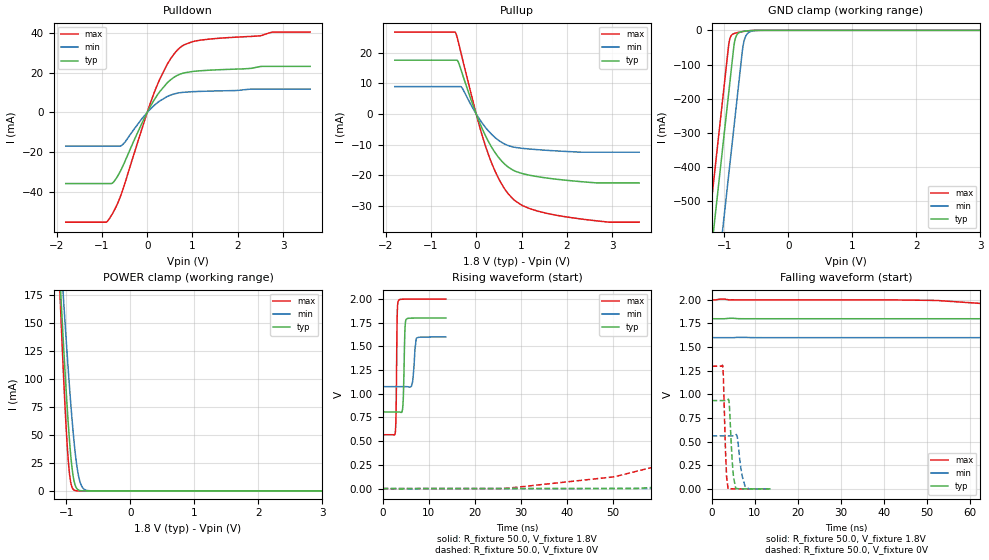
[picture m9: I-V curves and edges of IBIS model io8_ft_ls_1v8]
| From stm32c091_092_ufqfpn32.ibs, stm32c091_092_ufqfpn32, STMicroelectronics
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[Model]   io8_ft_ls_1v8
Model_type I/O
Polarity   Non-Inverting
Enable   Active-Low
| CAP_THRESHOLD on pad IOFT is "UDTCAPC" :
| Rising=30.0% of vddiom   Falling=70.0% of vddiom
| C_comp min and max val. don't necessarily correlate with the min and max pvt
| but are the smallest and greatest pad capacitance found.
| var   typ   min   max
C_comp   1.89337pF  1.85846pF  1.94151pF
|C_comp_pullup   1.00547pF  1.08100pF  1.05730pF
|C_comp_pulldown   887.90076fF  777.46347fF  884.20544fF
Vinl = 800.0mV
Vinh = 1.0V
Vmeas = 900.0mV   | Reference voltage for timing measurements
Cref  = 50.0pF   | Timing specification test load capacitance value
Rref  = 1.0MOhm   | Timing specification test load resistance value
Vref  = 990.0mV   | Timing specification test load voltage
[Model Spec]
| TIME_THRESHOLD on pin ZIV12 is "CMOS" :
| Rising=50.0% of vdd   Falling=50.0% of vdd
Vinl 728.70000mV 652.70000mV 817.70000mV
Vinh 1.06430V 953.30000mV 1.16330V
| variable   typ   min   max
[Temperature Range] 25.0 125.0 -40.0
| variable   typ   min   max
[Voltage Range] 1.8V 1.6V 2.0V
| variable   typ   min   max
[POWER Clamp Reference] 1.8V 1.6V 2.0V
| variable   typ   min   max
[GND Clamp Reference] 0V 0V 0V
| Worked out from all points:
|   slope of the pulldown table from 0 to 0.27 V, typ, clamps not added: 26.3 ohm
|   slope of the pullup table from 0 to 0.27 V, typ, clamps not added: 30 ohm
|   GND clamp passes 1 mA (typ) near -0.61 V on its own axis
|   POWER clamp passes 1 mA (typ) near -0.81 V on its own axis
|   rising waveform, R_fixture 50.0, V_fixture 1.8V: 20-80 % time 277ps typ, 470ps min, 188ps max; typ from 0.809 V to 1.8 V
|   falling waveform, R_fixture 50.0, V_fixture 1.8V: 20-80 % time 124ns typ, 225ns min, 65.3ns max; typ from 1.8 V to 0.808 V
|   rising waveform, R_fixture 50.0, V_fixture 0V: 20-80 % time 130ns typ, 242ns min, 71.3ns max; typ from 0 V to 0.935 V
|   falling waveform, R_fixture 50.0, V_fixture 0V: 20-80 % time 694ps typ, 1.01ns min, 532ps max; typ from 0.935 V to 0 V
[POWER Clamp]
-1.8V     1.053A     933.5mA    1.262A
-1.1V     191.1mA    222.7mA    177.1mA
-1.08V    169mA      204.2mA    149.9mA
-1.05V    136.9mA    176.9mA    110.9mA
-1.01V    96.55mA    141.6mA    64.02mA
-980mV    68.91mA    116.4mA    35.23mA
-940mV    37.57mA    84.83mA    10.65mA
-880mV    8.969mA    44.34mA    807.4uA
-830mV    1.697mA    20.19mA    75.79uA
-790mV    394.2uA    8.787mA    11.25uA
-670mV    4.467uA    374.2uA    36.56nA
3.6V      0A         0A         0A
[GND Clamp]
-1.8V     -1.658A    -1.897A    -1.517A
-1.24V    -706mA     -945.3mA   -564.6mA
-1.05V    -383mA     -622.3mA   -241.6mA
-930mV    -179mA     -418.3mA   -38.91mA
-910mV    -145mA     -384.3mA   -22.02mA
-870mV    -77.01mA   -316.3mA   -11.35mA
-850mV    -44.09mA   -282.3mA   -9.519mA
-820mV    -19mA      -231.3mA   -7.801mA
-710mV    -3.257mA   -47.82mA   -3.606mA
-660mV    -1.938mA   -14.77mA   -2.175mA
-590mV    -790.4uA   -3.415mA   -786.7uA
3.6V      506.8pA    48.18nA    364.4pA
| variable   typ   min   max
[Pullup Reference] 1.8V 1.6V 2.0V
| variable   typ   min   max
[Pulldown Reference] 0V 0V 0V
[Pullup]
-1.8V     17.6mA     8.988mA    26.78mA
-460mV    17.6mA     8.988mA    26.69mA
-410mV    17.37mA    8.988mA    24.39mA
-320mV    13.71mA    8.672mA    18.93mA
50mV      -1.901mA   -1.175mA   -2.8mA
270mV     -8.99mA    -5.518mA   -13.26mA
540mV     -15mA      -9.056mA   -22.31mA
870mV     -18.72mA   -10.91mA   -28.48mA
1.18V     -19.99mA   -11.43mA   -30.89mA
1.8V      -21.34mA   -12.07mA   -33.14mA
2.94V     -22.49mA   -12.46mA   -35.33mA
3.6V      -22.49mA   -12.46mA   -35.33mA
[Pulldown]
-1.8V     -35.76mA   -16.97mA   -55.17mA
-910mV    -35.76mA   -16.97mA   -55.17mA
-830mV    -35.76mA   -16.97mA   -53.18mA
-720mV    -34.31mA   -16.97mA   -48.86mA
-540mV    -27.04mA   -16.13mA   -38.89mA
-120mV    -5.569mA   -3.236mA   -8.457mA
230mV     8.974mA    4.965mA    14.24mA
520mV     16.45mA    8.736mA    27.07mA
750mV     19.43mA    9.977mA    33.01mA
1.37V     21.21mA    10.7mA     36.84mA
2.78V     23.13mA    11.74mA    40.36mA
3.6V      23.13mA    11.74mA    40.37mA
[Ramp]
dV/dt_r 560.75381mV/130.16061ns 336.9602mV/241.60876ns 778.06987mV/71.25562ns
dV/dt_f 594.90363mV/123.75444ns 314.72436mV/225.46336ns 859.17464mV/65.25393ns
R_load = 50.0
| Removed startup time: 0s 0s 0s  .
| Removed end time: 13.75ns.
[Rising Waveform]
R_fixture   = 50.0
V_fixture   = 1.8V
V_fixture_min = 1.6V
V_fixture_max = 2.0V
0s        808.6mV    1.076V     568.1mV
2.75ns    808.6mV    1.076V     585.2mV
2.95ns    808.6mV    1.076V     836mV
3.2ns     808.6mV    1.076V     1.86V
3.45ns    808.7mV    1.076V     1.983V
4.4ns     866.5mV    1.076V     1.998V
5.1ns     1.782V     1.076V     1.999V
6.5ns     1.799V     1.119V     2V
7.35ns    1.799V     1.586V     2V
13.75ns   1.8V       1.6V       2V
| Removed startup time: 0s 0s 0s  .
| Removed end time: 2.998us.
[Falling Waveform]
R_fixture   = 50.0
V_fixture   = 1.8V
V_fixture_min = 1.6V
V_fixture_max = 2.0V
0s        1.8V       1.6V       2V
63ns      1.8V       1.6V       1.96V
82ns      1.798V     1.6V       1.794V
105ns     1.781V     1.6V       1.484V
156ns     1.601V     1.595V     830.4mV
197ns     1.375V     1.57V      669.7mV
246ns     1.118V     1.515V     611.1mV
369ns     879.7mV    1.303V     576mV
625ns     814.2mV    1.114V     567.9mV
2.998us   808.5mV    1.075V     568mV
| Removed startup time: 0s 0s 0s  .
| Removed end time: 2.999us.
[Rising Waveform]
R_fixture   = 50.0
V_fixture   = 0V
V_fixture_min = 0V
V_fixture_max = 0V
0s        40.36nV    67.57nV    -2.808uV
26ns      -45.62uV   22.78uV    193.5uV
50ns      1.222mV    13.63uV    122.2mV
101ns     130.5mV    8.005mV    762.4mV
137ns     312mV      26.51mV    1.067V
176ns     511.3mV    81.15mV    1.216V
220ns     682.5mV    142.8mV    1.271V
375ns     907.4mV    386mV      1.299V
642ns     934.9mV    543.6mV    1.297V
2.999us   934.6mV    561.6mV    1.297V
| Removed startup time: 0s 0s 0s  .
| Removed end time: 13.7ns.
[Falling Waveform]
R_fixture   = 50.0
V_fixture   = 0V
V_fixture_min = 0V
V_fixture_max = 0V
0s        934.6mV    561.6mV    1.298V
2.6ns     934.6mV    561.6mV    1.297V
3.3ns     934.5mV    561.6mV    323.5mV
3.5ns     934.1mV    561.6mV    122.1mV
3.85ns    945.8mV    561.6mV    -79.04uV
4.15ns    870.8mV    561.6mV    4.145mV
5.05ns    146.8mV    561.2mV    1.035mV
5.65ns    3.806mV    572.3mV    717.8uV
7.8ns     343.8uV    26.86mV    270.5uV
13.7ns    128uV      -494.3uV   168.7uV
